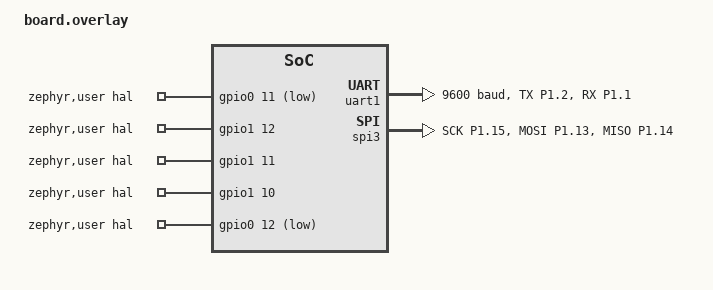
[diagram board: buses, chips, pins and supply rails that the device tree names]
/* nRF52840 DK pin map. Keep device id order aligned with bsp.h.
 * ECU UART1 uses P1.02/P1.01 through a car-side level shifter.
 * UART0 remains the console. Buttons use P0.11/P0.12.
 * Display SPI3 (SPIM3, up to 32 MHz) uses the Arduino header: SCK D13
 * (P1.15), MOSI D11 (P1.13) and the unused MISO D12 (P1.14); CS D10 (P1.12),
 * DC D9 (P1.11) and RESET D8 (P1.10). These pins are free on the DK, unlike
 * P0.17 to P0.24, which the QSPI flash and Button 3 share.
 * The display driver controls CS and reset polarity. */

&pinctrl {
	/* SCK and MOSI drive hard: at 32 MHz the edges need it. */
	spi3_display_default: spi3_display_default {
		group1 {
			psels = <NRF_PSEL(SPIM_SCK, 1, 15)>,
				<NRF_PSEL(SPIM_MOSI, 1, 13)>;
			nordic,drive-mode = <NRF_DRIVE_H0H1>;
		};

		group2 {
			psels = <NRF_PSEL(SPIM_MISO, 1, 14)>;
		};
	};

	spi3_display_sleep: spi3_display_sleep {
		group1 {
			psels = <NRF_PSEL(SPIM_SCK, 1, 15)>,
				<NRF_PSEL(SPIM_MOSI, 1, 13)>,
				<NRF_PSEL(SPIM_MISO, 1, 14)>;
			low-power-enable;
		};
	};

	uart1_default: uart1_default {
		group1 {
			psels = <NRF_PSEL(UART_TX, 1, 2)>;
		};
		group2 {
			psels = <NRF_PSEL(UART_RX, 1, 1)>;
			bias-pull-up;
		};
	};

	uart1_sleep: uart1_sleep {
		group1 {
			psels = <NRF_PSEL(UART_TX, 1, 2)>,
				<NRF_PSEL(UART_RX, 1, 1)>;
			low-power-enable;
		};
	};
};

&uart1 {
	status = "okay";
	current-speed = <9600>; /* the HAL sets the real rate */
	pinctrl-0 = <&uart1_default>;
	pinctrl-1 = <&uart1_sleep>;
	pinctrl-names = "default", "sleep";
};

/* The DK's on-board QSPI flash is wired to P0.17 and P0.19 to P0.23. Nothing
 * here uses it, and the production module (a Raytac MDBT50Q) has no external
 * flash, so the driver stays off. */
&qspi {
	status = "disabled";
};

/* A child node stays enabled on its own when only its bus is disabled, and
 * the flash driver is built for every enabled chip node, so the chip too. */
&mx25r64 {
	status = "disabled";
};

/* The display uses SPIM3, the one SPI instance that reaches 32 MHz. The DK's
 * dts gives it to the Arduino header, with a chip select the display driver
 * does not use: the driver controls CS itself. Short wires are needed at this
 * speed. SPIM moves the bytes by DMA. */
&spi3 {
	status = "okay";
	pinctrl-0 = <&spi3_display_default>;
	pinctrl-1 = <&spi3_display_sleep>;
	pinctrl-names = "default", "sleep";
	/delete-property/ cs-gpios;
};

/ {
	zephyr,user {
		hal-gpios = <&gpio0 11 (GPIO_ACTIVE_LOW | GPIO_PULL_UP)>,
			    <&gpio1 12 GPIO_ACTIVE_HIGH>,
			    <&gpio1 11 GPIO_ACTIVE_HIGH>,
			    <&gpio1 10 GPIO_ACTIVE_HIGH>,
			    <&gpio0 12 (GPIO_ACTIVE_LOW | GPIO_PULL_UP)>;
		hal-uarts = <&uart1>;
		hal-spis = <&spi3>;
	};
};
